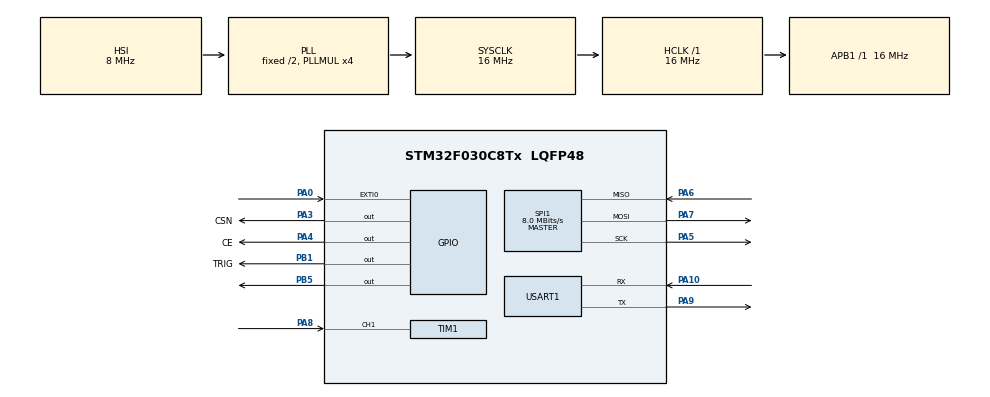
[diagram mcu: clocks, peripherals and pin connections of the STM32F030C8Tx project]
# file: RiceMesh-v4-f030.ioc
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Mcu.Family=STM32F0
Mcu.Name=STM32F030C8Tx
Mcu.Package=LQFP48
NVIC.EXTI0_1_IRQn=true\:0\:0\:false\:false\:true\:true\:true\:true
NVIC.SPI1_IRQn=true\:0\:0\:false\:false\:true\:true\:true\:true
NVIC.TIM1_CC_IRQn=true\:0\:0\:false\:false\:true\:true\:true\:true
NVIC.USART1_IRQn=true\:0\:0\:false\:false\:true\:true\:true\:true
PA0.GPIO_ModeDefaultEXTI=GPIO_MODE_IT_FALLING
PA0.Signal=GPXTI0
PA10.Mode=Asynchronous
PA10.Signal=USART1_RX
PA3.GPIO_Label=CSN
PA3.GPIO_Speed=GPIO_SPEED_FREQ_HIGH
PA3.Signal=GPIO_Output
PA4.GPIO_Label=CE
PA4.GPIO_Speed=GPIO_SPEED_FREQ_HIGH
PA4.Signal=GPIO_Output
PA5.Mode=Full_Duplex_Master
PA5.Signal=SPI1_SCK
PA6.Mode=Full_Duplex_Master
PA6.Signal=SPI1_MISO
PA7.Mode=Full_Duplex_Master
PA7.Signal=SPI1_MOSI
PA8.Signal=S_TIM1_CH1
PA9.Mode=Asynchronous
PA9.Signal=USART1_TX
PB1.GPIO_Label=TRIG
PB1.Signal=GPIO_Output
PB5.Signal=GPIO_Output
ProjectManager.HeapSize=0x200
ProjectManager.StackSize=0x400
ProjectManager.TargetToolchain=Makefile
RCC.AHBFreq_Value=16000000
RCC.APB1Freq_Value=16000000
RCC.APB1TimFreq_Value=16000000
RCC.HCLKFreq_Value=16000000
RCC.PLLMUL=RCC_PLL_MUL4
RCC.SYSCLKFreq_VALUE=16000000
RCC.SYSCLKSource=RCC_SYSCLKSOURCE_PLLCLK
SH.S_TIM1_CH1.0=TIM1_CH1,Input_Capture1_from_TI1
SPI1.CalculateBaudRate=8.0 MBits/s
SPI1.DataSize=SPI_DATASIZE_8BIT
SPI1.Direction=SPI_DIRECTION_2LINES
SPI1.Mode=SPI_MODE_MASTER
SPI1.VirtualType=VM_MASTER
TIM1.Channel-Input_Capture1_from_TI1=TIM_CHANNEL_1
TIM1.Channel-Input_Capture2_from_TI2=TIM_CHANNEL_2
TIM1.Prescaler=47
USART1.VirtualMode-Asynchronous=VM_ASYNC
VP_TIM1_VS_ClockSourceINT.Mode=Internal
board=custom

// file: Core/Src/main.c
/* USER CODE BEGIN Header */
/**
  ******************************************************************************
  * @file           : main.c
  * @brief          : Main program body
  ******************************************************************************
  * @attention
  *
  * Copyright (c) 2026 STMicroelectronics.
  * All rights reserved.
  *
  * This software is licensed under terms that can be found in the LICENSE file
  * in the root directory of this software component.
  * If no LICENSE file comes with this software, it is provided AS-IS.
  *
  ******************************************************************************
  */
/* USER CODE END Header */
#include "main.h"

/* USER CODE BEGIN Includes */
#include "NRF24.h"
#include "NRF24_reg_addresses.h"
#include <stdio.h>
#include <string.h>

#define PLD_SIZE 32
/* USER CODE END Includes */

SPI_HandleTypeDef hspi1;

TIM_HandleTypeDef htim1;

UART_HandleTypeDef huart1;

/* USER CODE BEGIN PV */
//sr04_t sr04;
/* USER CODE END PV */

void SystemClock_Config(void);
static void MX_GPIO_Init(void);
static void MX_SPI1_Init(void);
static void MX_TIM1_Init(void);
static void MX_USART1_UART_Init(void);

/* USER CODE BEGIN 0 */
void delay (uint16_t time)
{
	__HAL_TIM_SET_COUNTER(&htim1, 0);
	while (__HAL_TIM_GET_COUNTER (&htim1) < time);
}

uint32_t IC_Val1 = 0;
uint32_t IC_Val2 = 0;
uint32_t Difference = 0;
uint8_t Distance  = 0;
uint8_t Is_First_Captured = 0;  // is the first value captured ?

void HAL_TIM_IC_CaptureCallback(TIM_HandleTypeDef *htim)
{
	if (htim->Channel == HAL_TIM_ACTIVE_CHANNEL_1)  // if the interrupt source is channel1
	{
		if (Is_First_Captured==0) // if the first value is not captured
		{
			IC_Val1 = HAL_TIM_ReadCapturedValue(htim, TIM_CHANNEL_1); // read the first value
			Is_First_Captured = 1;  // set the first captured as true
			// Now change the polarity to falling edge
			__HAL_TIM_SET_CAPTUREPOLARITY(htim, TIM_CHANNEL_1, TIM_INPUTCHANNELPOLARITY_FALLING);
		}

		else if (Is_First_Captured==1)   // if the first is already captured
		{
			IC_Val2 = HAL_TIM_ReadCapturedValue(htim, TIM_CHANNEL_1);  // read second value
			__HAL_TIM_SET_COUNTER(htim, 0);  // reset the counter

			if (IC_Val2 > IC_Val1)
			{
				Difference = IC_Val2-IC_Val1;
			}

			else if (IC_Val1 > IC_Val2)
			{
				Difference = (0xffff - IC_Val1) + IC_Val2;
			}

			Distance = Difference * .034/2;
			Is_First_Captured = 0; // set it back to false

			// set polarity to rising edge
			__HAL_TIM_SET_CAPTUREPOLARITY(htim, TIM_CHANNEL_1, TIM_INPUTCHANNELPOLARITY_RISING);
			__HAL_TIM_DISABLE_IT(&htim1, TIM_IT_CC1);
		}
	}
}

void HCSR04_Read (void)
{
	HAL_GPIO_WritePin(TRIG_GPIO_Port, TRIG_Pin, GPIO_PIN_SET);  // pull the TRIG pin HIGH
	delay(10);  // wait for 10 us
	HAL_GPIO_WritePin(TRIG_GPIO_Port, TRIG_Pin, GPIO_PIN_RESET);  // pull the TRIG pin low

	__HAL_TIM_ENABLE_IT(&htim1, TIM_IT_CC1);
}

/* USER CODE END 0 */

int main(void)
{

  /* MCU Configuration--------------------------------------------------------*/

  /* Reset of all peripherals, Initializes the Flash interface and the Systick. */
  HAL_Init();

  /* Configure the system clock */
  SystemClock_Config();

  /* Initialize all configured peripherals */
  MX_GPIO_Init();
  MX_SPI1_Init();
  MX_TIM1_Init();
  MX_USART1_UART_Init();
  /* USER CODE BEGIN 2 */
  HAL_TIM_IC_Start_IT(&htim1, TIM_CHANNEL_1);

  csn_high();
  ce_high();

  HAL_Delay(5);

  ce_low();

  nrf24_init();

  nrf24_auto_ack_all(auto_ack);
  nrf24_en_ack_pld(disable);
  nrf24_dpl(disable);

  nrf24_set_crc(no_crc, _1byte);

  nrf24_tx_pwr(_0dbm);
  nrf24_data_rate(_1mbps);
  nrf24_set_channel(90);
  nrf24_set_addr_width(5);

  nrf24_set_rx_dpl(0, disable);
  nrf24_set_rx_dpl(1, disable);
  nrf24_set_rx_dpl(2, disable);
  nrf24_set_rx_dpl(3, disable);
  nrf24_set_rx_dpl(4, disable);
  nrf24_set_rx_dpl(5, disable);

  nrf24_pipe_pld_size(1, PLD_SIZE);

  nrf24_auto_retr_delay(4);
  nrf24_auto_retr_limit(10);

  uint8_t Address_Node1[5] = {0xAA, 0x44, 0x33, 0x22, 0x11};
  uint8_t data_T[PLD_SIZE];
  nrf24_open_tx_pipe(Address_Node1);
  nrf24_stop_listen();
  //nrf24_open_rx_pipe(2, Address_Node3);
  ce_high();

  // sr04.trig_port = GPIOB;
  // sr04.trig_pin = GPIO_PIN_1;
  // sr04.echo_htim = &htim1;
  // sr04.echo_channel = TIM_CHANNEL_1;
  // sr04_init(&sr04);

  /* USER CODE END 2 */

  /* Infinite loop */
  /* USER CODE BEGIN WHILE */
  while (1)
  {
    HCSR04_Read();
    HAL_Delay(60);

    // nrf24_type_to_uint8_t(Distance, data_T, PLD_SIZE);

    snprintf((char *)data_T, PLD_SIZE, "N1 d:%u", Difference);

    uint8_t tx_status = nrf24_transmit(data_T, PLD_SIZE);

    if (tx_status == 0)  // Transmission successful and valid distance measurement
    {
      HAL_GPIO_WritePin(GPIOB, GPIO_PIN_5, GPIO_PIN_SET);
      HAL_Delay(100);
      HAL_GPIO_WritePin(GPIOB, GPIO_PIN_5, GPIO_PIN_RESET);
    }

    HAL_Delay(1000);
    /* USER CODE END WHILE */

  }
}

void SystemClock_Config(void)
{
  RCC_OscInitTypeDef RCC_OscInitStruct = {0};
  RCC_ClkInitTypeDef RCC_ClkInitStruct = {0};
  RCC_PeriphCLKInitTypeDef PeriphClkInit = {0};

  /** Initializes the RCC Oscillators according to the specified parameters
  * in the RCC_OscInitTypeDef structure.
  */
  RCC_OscInitStruct.OscillatorType = RCC_OSCILLATORTYPE_HSI;
  RCC_OscInitStruct.HSIState = RCC_HSI_ON;
  RCC_OscInitStruct.HSICalibrationValue = RCC_HSICALIBRATION_DEFAULT;
  RCC_OscInitStruct.PLL.PLLState = RCC_PLL_ON;
  RCC_OscInitStruct.PLL.PLLSource = RCC_PLLSOURCE_HSI;
  RCC_OscInitStruct.PLL.PLLMUL = RCC_PLL_MUL4;
  RCC_OscInitStruct.PLL.PREDIV = RCC_PREDIV_DIV1;
  if (HAL_RCC_OscConfig(&RCC_OscInitStruct) != HAL_OK)
  {
    Error_Handler();
  }

  /** Initializes the CPU, AHB and APB buses clocks
  */
  RCC_ClkInitStruct.ClockType = RCC_CLOCKTYPE_HCLK|RCC_CLOCKTYPE_SYSCLK
                              |RCC_CLOCKTYPE_PCLK1;
  RCC_ClkInitStruct.SYSCLKSource = RCC_SYSCLKSOURCE_PLLCLK;
  RCC_ClkInitStruct.AHBCLKDivider = RCC_SYSCLK_DIV1;
  RCC_ClkInitStruct.APB1CLKDivider = RCC_HCLK_DIV1;

  if (HAL_RCC_ClockConfig(&RCC_ClkInitStruct, FLASH_LATENCY_0) != HAL_OK)
  {
    Error_Handler();
  }
  PeriphClkInit.PeriphClockSelection = RCC_PERIPHCLK_USART1;
  PeriphClkInit.Usart1ClockSelection = RCC_USART1CLKSOURCE_PCLK1;
  if (HAL_RCCEx_PeriphCLKConfig(&PeriphClkInit) != HAL_OK)
  {
    Error_Handler();
  }
}

static void MX_SPI1_Init(void)
{

  /* SPI1 parameter configuration*/
  hspi1.Instance = SPI1;
  hspi1.Init.Mode = SPI_MODE_MASTER;
  hspi1.Init.Direction = SPI_DIRECTION_2LINES;
  hspi1.Init.DataSize = SPI_DATASIZE_8BIT;
  hspi1.Init.CLKPolarity = SPI_POLARITY_LOW;
  hspi1.Init.CLKPhase = SPI_PHASE_1EDGE;
  hspi1.Init.NSS = SPI_NSS_SOFT;
  hspi1.Init.BaudRatePrescaler = SPI_BAUDRATEPRESCALER_2;
  hspi1.Init.FirstBit = SPI_FIRSTBIT_MSB;
  hspi1.Init.TIMode = SPI_TIMODE_DISABLE;
  hspi1.Init.CRCCalculation = SPI_CRCCALCULATION_DISABLE;
  hspi1.Init.CRCPolynomial = 7;
  hspi1.Init.CRCLength = SPI_CRC_LENGTH_DATASIZE;
  hspi1.Init.NSSPMode = SPI_NSS_PULSE_ENABLE;
  if (HAL_SPI_Init(&hspi1) != HAL_OK)
  {
    Error_Handler();
  }

}

static void MX_TIM1_Init(void)
{

  TIM_ClockConfigTypeDef sClockSourceConfig = {0};
  TIM_MasterConfigTypeDef sMasterConfig = {0};
  TIM_IC_InitTypeDef sConfigIC = {0};

  htim1.Instance = TIM1;
  htim1.Init.Prescaler = 47;
  htim1.Init.CounterMode = TIM_COUNTERMODE_UP;
  htim1.Init.Period = 65535;
  htim1.Init.ClockDivision = TIM_CLOCKDIVISION_DIV1;
  htim1.Init.RepetitionCounter = 0;
  htim1.Init.AutoReloadPreload = TIM_AUTORELOAD_PRELOAD_DISABLE;
  if (HAL_TIM_Base_Init(&htim1) != HAL_OK)
  {
    Error_Handler();
  }
  sClockSourceConfig.ClockSource = TIM_CLOCKSOURCE_INTERNAL;
  if (HAL_TIM_ConfigClockSource(&htim1, &sClockSourceConfig) != HAL_OK)
  {
    Error_Handler();
  }
  if (HAL_TIM_IC_Init(&htim1) != HAL_OK)
  {
    Error_Handler();
  }
  sMasterConfig.MasterOutputTrigger = TIM_TRGO_RESET;
  sMasterConfig.MasterSlaveMode = TIM_MASTERSLAVEMODE_DISABLE;
  if (HAL_TIMEx_MasterConfigSynchronization(&htim1, &sMasterConfig) != HAL_OK)
  {
    Error_Handler();
  }
  sConfigIC.ICPolarity = TIM_INPUTCHANNELPOLARITY_RISING;
  sConfigIC.ICSelection = TIM_ICSELECTION_DIRECTTI;
  sConfigIC.ICPrescaler = TIM_ICPSC_DIV1;
  sConfigIC.ICFilter = 0;
  if (HAL_TIM_IC_ConfigChannel(&htim1, &sConfigIC, TIM_CHANNEL_1) != HAL_OK)
  {
    Error_Handler();
  }

}

static void MX_USART1_UART_Init(void)
{

  huart1.Instance = USART1;
  huart1.Init.BaudRate = 38400;
  huart1.Init.WordLength = UART_WORDLENGTH_8B;
  huart1.Init.StopBits = UART_STOPBITS_1;
  huart1.Init.Parity = UART_PARITY_NONE;
  huart1.Init.Mode = UART_MODE_TX_RX;
  huart1.Init.HwFlowCtl = UART_HWCONTROL_NONE;
  huart1.Init.OverSampling = UART_OVERSAMPLING_16;
  huart1.Init.OneBitSampling = UART_ONE_BIT_SAMPLE_DISABLE;
  huart1.AdvancedInit.AdvFeatureInit = UART_ADVFEATURE_NO_INIT;
  if (HAL_UART_Init(&huart1) != HAL_OK)
  {
    Error_Handler();
  }

}

static void MX_GPIO_Init(void)
{
  GPIO_InitTypeDef GPIO_InitStruct = {0};

  /* GPIO Ports Clock Enable */
  __HAL_RCC_GPIOA_CLK_ENABLE();
  __HAL_RCC_GPIOB_CLK_ENABLE();

  /*Configure GPIO pin Output Level */
  HAL_GPIO_WritePin(GPIOA, CSN_Pin|CE_Pin, GPIO_PIN_RESET);

  /*Configure GPIO pin Output Level */
  HAL_GPIO_WritePin(GPIOB, TRIG_Pin|GPIO_PIN_5, GPIO_PIN_RESET);

  /*Configure GPIO pin : PA0 */
  GPIO_InitStruct.Pin = GPIO_PIN_0;
  GPIO_InitStruct.Mode = GPIO_MODE_IT_FALLING;
  GPIO_InitStruct.Pull = GPIO_NOPULL;
  HAL_GPIO_Init(GPIOA, &GPIO_InitStruct);

  /*Configure GPIO pins : CSN_Pin CE_Pin */
  GPIO_InitStruct.Pin = CSN_Pin|CE_Pin;
  GPIO_InitStruct.Mode = GPIO_MODE_OUTPUT_PP;
  GPIO_InitStruct.Pull = GPIO_NOPULL;
  GPIO_InitStruct.Speed = GPIO_SPEED_FREQ_HIGH;
  HAL_GPIO_Init(GPIOA, &GPIO_InitStruct);

  /*Configure GPIO pins : TRIG_Pin PB5 */
  GPIO_InitStruct.Pin = TRIG_Pin|GPIO_PIN_5;
  GPIO_InitStruct.Mode = GPIO_MODE_OUTPUT_PP;
  GPIO_InitStruct.Pull = GPIO_NOPULL;
  GPIO_InitStruct.Speed = GPIO_SPEED_FREQ_LOW;
  HAL_GPIO_Init(GPIOB, &GPIO_InitStruct);

  /* EXTI interrupt init*/
  HAL_NVIC_SetPriority(EXTI0_1_IRQn, 0, 0);
  HAL_NVIC_EnableIRQ(EXTI0_1_IRQn);

}

void Error_Handler(void)
{
  __disable_irq();
  while (1)
  {
  }
}
